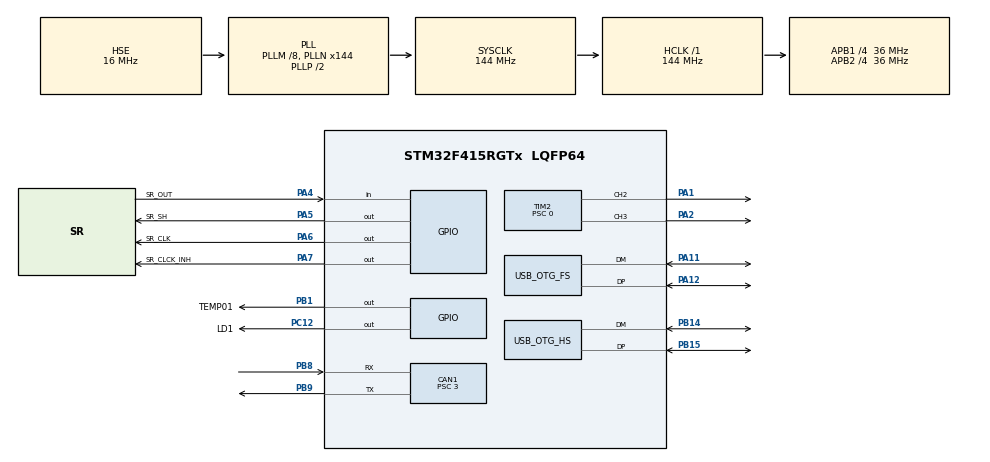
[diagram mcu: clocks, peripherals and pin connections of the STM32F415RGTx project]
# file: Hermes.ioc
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ADC1.Channel-0\#ChannelRegularConversion=ADC_CHANNEL_TEMPSENSOR
ADC1.NbrOfConversionFlag=1
ADC1.Rank-0\#ChannelRegularConversion=1
ADC1.SamplingTime-0\#ChannelRegularConversion=ADC_SAMPLETIME_3CYCLES
ADC1.master=1
CAN1.BS1=CAN_BS1_11TQ
CAN1.BS2=CAN_BS2_4TQ
CAN1.CalculateBaudRate=749999
CAN1.CalculateTimeBit=1333
CAN1.CalculateTimeQuantum=83.33333333333334
CAN1.Prescaler=3
Mcu.Family=STM32F4
Mcu.Name=STM32F415RGTx
Mcu.Package=LQFP64
NVIC.CAN1_RX0_IRQn=true\:0\:0\:false\:false\:true\:true\:true\:true
NVIC.OTG_FS_IRQn=true\:0\:0\:false\:false\:true\:false\:true\:true
NVIC.OTG_HS_IRQn=true\:0\:0\:false\:false\:true\:false\:true\:true
NVIC.PriorityGroup=NVIC_PRIORITYGROUP_4
PA1.Signal=S_TIM2_CH2
PA11.Mode=Device_Only
PA11.Signal=USB_OTG_FS_DM
PA12.Mode=Device_Only
PA12.Signal=USB_OTG_FS_DP
PA13.Mode=Serial_Wire
PA13.Signal=SYS_JTMS-SWDIO
PA14.Mode=Serial_Wire
PA14.Signal=SYS_JTCK-SWCLK
PA2.Signal=S_TIM2_CH3
PA4.GPIO_Label=SR_OUT
PA4.GPIO_PuPd=GPIO_PULLUP
PA4.Signal=GPIO_Input
PA5.GPIO_Label=SR_SH
PA5.GPIO_ModeDefaultOutputPP=GPIO_MODE_OUTPUT_PP
PA5.GPIO_PuPd=GPIO_NOPULL
PA5.GPIO_Speed=GPIO_SPEED_FREQ_MEDIUM
PA5.Signal=GPIO_Output
PA6.GPIO_Label=SR_CLK
PA6.GPIO_ModeDefaultOutputPP=GPIO_MODE_OUTPUT_PP
PA6.GPIO_PuPd=GPIO_NOPULL
PA6.GPIO_Speed=GPIO_SPEED_FREQ_MEDIUM
PA6.Signal=GPIO_Output
PA7.GPIO_Label=SR_CLCK_INH
PA7.GPIO_ModeDefaultOutputPP=GPIO_MODE_OUTPUT_PP
PA7.GPIO_PuPd=GPIO_NOPULL
PA7.GPIO_Speed=GPIO_SPEED_FREQ_MEDIUM
PA7.Signal=GPIO_Output
PB1.GPIO_Label=TEMP01
PB1.Signal=GPIO_Output
PB14.Mode=Device_Only_FS
PB14.Signal=USB_OTG_HS_DM
PB15.Mode=Device_Only_FS
PB15.Signal=USB_OTG_HS_DP
PB8.Mode=CAN_Activate
PB8.Signal=CAN1_RX
PB9.Mode=CAN_Activate
PB9.Signal=CAN1_TX
PC12.GPIO_Label=LD1
PC12.Signal=GPIO_Output
PC14-OSC32_IN.Mode=LSE-External-Oscillator
PC14-OSC32_IN.Signal=RCC_OSC32_IN
PC15-OSC32_OUT.Mode=LSE-External-Oscillator
PC15-OSC32_OUT.Signal=RCC_OSC32_OUT
PH0-OSC_IN.Mode=HSE-External-Oscillator
PH0-OSC_IN.Signal=RCC_OSC_IN
PH1-OSC_OUT.Mode=HSE-External-Oscillator
PH1-OSC_OUT.Signal=RCC_OSC_OUT
ProjectManager.HeapSize=0x200
ProjectManager.StackSize=0x400
ProjectManager.TargetToolchain=STM32CubeIDE
RCC.48MHZClocksFreq_Value=48000000
RCC.AHBFreq_Value=144000000
RCC.APB1CLKDivider=RCC_HCLK_DIV4
RCC.APB1Freq_Value=36000000
RCC.APB1TimFreq_Value=72000000
RCC.APB2CLKDivider=RCC_HCLK_DIV4
RCC.APB2Freq_Value=36000000
RCC.APB2TimFreq_Value=72000000
RCC.CortexFreq_Value=144000000
RCC.HCLKFreq_Value=144000000
RCC.HSE_VALUE=16000000
RCC.HSI_VALUE=16000000
RCC.PLLM=8
RCC.PLLN=144
RCC.PLLQ=6
RCC.SYSCLKFreq_VALUE=144000000
RCC.SYSCLKSource=RCC_SYSCLKSOURCE_PLLCLK
RCC.VCOOutputFreq_Value=288000000
SH.S_TIM2_CH2.0=TIM2_CH2,PWM Generation2 CH2
SH.S_TIM2_CH3.0=TIM2_CH3,PWM Generation3 CH3
TIM2.AutoReloadPreload=TIM_AUTORELOAD_PRELOAD_ENABLE
TIM2.Channel-PWM\ Generation2\ CH2=TIM_CHANNEL_2
TIM2.Channel-PWM\ Generation3\ CH3=TIM_CHANNEL_3
TIM2.Period=1679999
TIM2.Prescaler=0
TIM2.Pulse-PWM\ Generation2\ CH2=9999
TIM2.Pulse-PWM\ Generation3\ CH3=9999
USB_DEVICE.CLASS_NAME_FS=CDC
USB_DEVICE.CLASS_NAME_HS=CDC
USB_DEVICE.PRODUCT_STRING_CDC_FS=UiS Subsea CAN
USB_DEVICE.PRODUCT_STRING_CDC_HS=UiS Subsea CAN
USB_DEVICE.VirtualMode-CDC_FS=Cdc
USB_DEVICE.VirtualMode-CDC_HS=Cdc
USB_DEVICE.VirtualModeFS=Cdc_FS
USB_DEVICE.VirtualModeHS=Cdc_HS
USB_OTG_FS.VirtualMode=Device_Only
USB_OTG_HS.VirtualMode-Device_Only_FS=Device_Only_FS
VP_ADC1_TempSens_Input.Mode=IN-TempSens
VP_TIM2_VS_ClockSourceINT.Mode=Internal
VP_USB_DEVICE_VS_USB_DEVICE_CDC_FS.Mode=CDC_FS
VP_USB_DEVICE_VS_USB_DEVICE_CDC_HS.Mode=CDC_HS
board=custom

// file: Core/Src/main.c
/* USER CODE BEGIN Header */
/**
  ******************************************************************************
  * @file           : main.c
  * @brief          : Main program body
  ******************************************************************************
  * @attention
  *
  * <h2><center>&copy; Copyright (c) 2022 STMicroelectronics.
  * All rights reserved.</center></h2>
  *
  * This software component is licensed by ST under BSD 3-Clause license,
  * the "License"; You may not use this file except in compliance with the
  * License. You may obtain a copy of the License at:
  *                        opensource.org/licenses/BSD-3-Clause
  *
  ******************************************************************************
  */
/* USER CODE END Header */
#include "main.h"
#include "usb_device.h"

/* USER CODE BEGIN Includes */
#include "usbd_cdc_if.h"
#include <inttypes.h>

#include "metodar.h"
#include "shift.h"
/* USER CODE END Includes */

 ADC_HandleTypeDef hadc1;

CAN_HandleTypeDef hcan1;

TIM_HandleTypeDef htim2;

void SystemClock_Config(void);
static void MX_GPIO_Init(void);
static void MX_TIM2_Init(void);
static void MX_CAN1_Init(void);
static void MX_ADC1_Init(void);

/* USER CODE BEGIN 0 */

/*
 * CAN-Buss oppsett Start
 */
CAN_RxHeaderTypeDef rxHeader; //CAN Bus Transmit Header
CAN_TxHeaderTypeDef txHeader; //CAN Bus Receive Header
uint8_t canRX[8] = {0,0,0,0,0,0,0,0};  //CAN Bus Receive Buffer
uint8_t csend[] = {0x00,0x00,0x00,0x00,0x00,0x00,0x00,0x00}; // Tx Buffer
CAN_FilterTypeDef canfilter;
uint32_t canMailbox; //CAN Bus Mail box variable

void oppstartCAN(uint8_t filterGruppe, CAN_HandleTypeDef *canPort) {
	canfilter.FilterBank = 0;
	canfilter.FilterMode = CAN_FILTERMODE_IDMASK;
	canfilter.FilterFIFOAssignment = CAN_RX_FIFO0;
	canfilter.FilterIdHigh = 0x00;
	canfilter.FilterIdLow = 0x00;
	canfilter.FilterMaskIdHigh = 0x00;
	canfilter.FilterMaskIdLow = 0x00;
	canfilter.FilterScale = CAN_FILTERSCALE_32BIT;
	canfilter.FilterActivation = ENABLE;
	canfilter.SlaveStartFilterBank = 14;

	txHeader.DLC = 8; // Number of bytes to be transmitted, max- 8
	txHeader.IDE = CAN_ID_STD;
	txHeader.RTR = CAN_RTR_DATA;
	txHeader.StdId = 0x00;
	txHeader.ExtId = 0x00;
	txHeader.TransmitGlobalTime = DISABLE;

	HAL_CAN_ConfigFilter(canPort, &canfilter);
	HAL_CAN_Start(canPort);
	HAL_CAN_ActivateNotification(canPort, CAN_IT_RX_FIFO0_MSG_PENDING);
}

void sendDataCAN(uint16_t id, CAN_HandleTypeDef *canPort) {
	txHeader.StdId = id;
	HAL_CAN_AddTxMessage(canPort, &txHeader, csend, &canMailbox);
}
/*
 * CAN-Buss oppsett Stopp
 */

uint8_t test_flag = 0;
uint8_t ttData[64] = "123\n";
uint16_t teller_CAN = 0;
uint32_t* tmpCANBuf32;
uint8_t* tmpCANBuf8;
uint8_t CANBufLengde = 0;

/* USER CODE END 0 */

int main(void)
{

  /* MCU Configuration--------------------------------------------------------*/

  /* Reset of all peripherals, Initializes the Flash interface and the Systick. */
  HAL_Init();

  /* Configure the system clock */
  SystemClock_Config();

  /* Initialize all configured peripherals */
  MX_GPIO_Init();
  MX_TIM2_Init();
  MX_USB_DEVICE_Init();
  MX_CAN1_Init();
  MX_ADC1_Init();
  /* USER CODE BEGIN 2 */

  HAL_TIM_PWM_Start(&htim2, TIM_CHANNEL_2);
  HAL_TIM_PWM_Start(&htim2, TIM_CHANNEL_3);
  TIM2->ARR = 1679999;
  TIM2->CCR2 = skalerVerdi(KAMERA_VINKEL_FRAM, 180, 0, 220000, 50000);
  TIM2->CCR3 = skalerVerdi(KAMERA_VINKEL_BAK, 180, 0, 220000, 50000);

  // Read buffer
  uint8_t rxData[16];
  memset(rxData, 0, 16);

  oppstartCAN(0, &hcan1);

  // Temp verdier til test data
	HAL_GPIO_WritePin(SR_SH_GPIO_Port, SR_SH_Pin, GPIO_PIN_SET);
	HAL_GPIO_WritePin(SR_CLCK_INH_GPIO_Port, SR_CLCK_INH_Pin, GPIO_PIN_SET);
	HAL_GPIO_WritePin(SR_CLK_GPIO_Port, SR_CLK_Pin, GPIO_PIN_SET);

  uint8_t dipSwitch = 0;
  uint16_t testSensorTall1 = 0;
  uint16_t testSensorTall2 = 0;
  uint16_t testTeller1 = 0;
  uint8_t  testData[64] = "123\n";
  uint8_t* testBuf8;
  uint8_t  testBufLengde = 0;
  uint8_t  testArray[8] = {0x00,0x00,0x00,0x00,0x00,0x00,0x00,0x00}; // Tx Buffer
  uint8_t  testKontSend[8] = {0};
  int8_t   testKontX = -128;
  /* USER CODE END 2 */

  /* Infinite loop */
  while (1)
  {

    /* USER CODE BEGIN 3 */

	  uint16_t bytesAvailable = CDC_GetRxBufferBytesAvailable_HS();

	  // Venter på full pakke, sjekk start og stopp byte.
	  if (bytesAvailable >= 12) {
	  if (CDC_ReadRxBuffer_HS(rxData, 1) == USB_CDC_RX_BUFFER_OK) {
	  if (rxData[0] == PAKKE_START) {
	  if (CDC_ReadRxBuffer_HS(rxData, 11) == USB_CDC_RX_BUFFER_OK) {
	  if (rxData[10] == PAKKE_STOPP) {
		  /*
		   * rxData[0] er CAN/Tilt
		   * rxData[1] er CAN/Kamera ID
		   * rxData[2-9] er Datapakke
		   * rxData[10] er sluttbyte
		   */

		  if (rxData[0] == PAKKE_CAN) {
			  // Kopierer databuffer og sender på CAN
			  memcpy(csend, &rxData[2], 8);
			  sendDataCAN(rxData[1], &hcan1);

		  } else if (rxData[0] == PAKKE_TILT) {

			  int8_t vinkel = (int8_t) rxData[2];
			  int16_t vinkel_16 = (int16_t) vinkel;

			  switch (rxData[1]) {
			  // Kamera fram
			  case 200:
				  vinkel_16 += KAMERA_VINKEL_FRAM; // -30 -> +30 offsett med 90

				  if (vinkel_16 >= KAMERA_VINKEL_FRAM_MAKS) {
					  vinkel_16 = KAMERA_VINKEL_FRAM_MAKS;
				  } else if (vinkel_16 <= KAMERA_VINKEL_FRAM_MIN) {
					  vinkel_16 = KAMERA_VINKEL_FRAM_MIN;
				  }

				  TIM2->CCR2 = skalerVerdi(vinkel_16, 180, 0, 220000, 50000);
				  break;

			  // Kamera bak
			  case 201:
				  vinkel_16 += KAMERA_VINKEL_BAK; // -30 -> +30 offsett med 90

				  if (vinkel_16 >= KAMERA_VINKEL_BAK_MAKS) {
					  vinkel_16 = KAMERA_VINKEL_BAK_MAKS;
				  } else if (vinkel_16 <= KAMERA_VINKEL_BAK_MIN) {
					  vinkel_16 = KAMERA_VINKEL_BAK_MIN;
				  }

				  TIM2->CCR3 = skalerVerdi(vinkel_16, 180, 0, 220000, 50000);
				  break;
			  }

		  } else {

		  }

	  }}}
	  // Ikkje Start byte
	  else {
		  // ting her??
	  }}}

	  	if (testTeller1 >= 0xFFFF) {
		  	dipSwitch = readByte();
		  	float test = 4.5;
		  	test = abs(test);

		  	if (dipSwitch != 0xFF) {
				// Testdata sensor kort til toppside
				if (dipSwitch & 0b1) {
					if (testSensorTall1 >= 700) {
						testSensorTall1 = 0;
					}
					testSensorTall1++;
					testSensorTall2 = testSensorTall1 + 42;

					memcpy(&testArray[1], &testSensorTall1, 2);
					memcpy(&testArray[3], &testSensorTall2, 2);

					testBuf8 = testArray;
					for (int i = 0; i < 8; i++) {
						testBufLengde = testBufLengde + sprintf((char*) &testData[testBufLengde], "\\x%02X", *testBuf8);
						testBuf8++;
					}

					sprintf((char*) &testData[testBufLengde], ";%d\n", (uint8_t) 140U);
					testBufLengde = 0;

					CDC_Transmit_HS(testData, strlen((char*) testData));
				}

				// Testdata kontroll til CAN
				if (dipSwitch & 0b10) {
				  testKontX++;
				  memset(testKontSend, (uint8_t) testKontX, 3);

				  memcpy(csend, testKontSend, 8);
				  sendDataCAN(70, &hcan1);
				}

				// Debugdata serial konsoll på
				if (dipSwitch & 0b10000000) {
					sprintf((char*) testData, "Dipswitch: 0b"BYTE_TO_BINARY_PATTERN"\r\n", BYTE_TO_BINARY(dipSwitch));
					CDC_Transmit_HS(testData, strlen((char*) testData));
				}
		  	}
		  	// Reset teller
		  	testTeller1 = 0;
	  	}
	  	//testTeller1++;
	  	//sendDataCAN(90, &hcan1);
	  	//HAL_Delay(1000);

  }
  /* USER CODE END 3 */
}

void SystemClock_Config(void)
{
  RCC_OscInitTypeDef RCC_OscInitStruct = {0};
  RCC_ClkInitTypeDef RCC_ClkInitStruct = {0};

  /** Configure the main internal regulator output voltage
  */
  __HAL_RCC_PWR_CLK_ENABLE();
  __HAL_PWR_VOLTAGESCALING_CONFIG(PWR_REGULATOR_VOLTAGE_SCALE1);

  /** Initializes the RCC Oscillators according to the specified parameters
  * in the RCC_OscInitTypeDef structure.
  */
  RCC_OscInitStruct.OscillatorType = RCC_OSCILLATORTYPE_HSE;
  RCC_OscInitStruct.HSEState = RCC_HSE_ON;
  RCC_OscInitStruct.PLL.PLLState = RCC_PLL_ON;
  RCC_OscInitStruct.PLL.PLLSource = RCC_PLLSOURCE_HSE;
  RCC_OscInitStruct.PLL.PLLM = 8;
  RCC_OscInitStruct.PLL.PLLN = 144;
  RCC_OscInitStruct.PLL.PLLP = RCC_PLLP_DIV2;
  RCC_OscInitStruct.PLL.PLLQ = 6;
  if (HAL_RCC_OscConfig(&RCC_OscInitStruct) != HAL_OK)
  {
    Error_Handler();
  }

  /** Initializes the CPU, AHB and APB buses clocks
  */
  RCC_ClkInitStruct.ClockType = RCC_CLOCKTYPE_HCLK|RCC_CLOCKTYPE_SYSCLK
                              |RCC_CLOCKTYPE_PCLK1|RCC_CLOCKTYPE_PCLK2;
  RCC_ClkInitStruct.SYSCLKSource = RCC_SYSCLKSOURCE_PLLCLK;
  RCC_ClkInitStruct.AHBCLKDivider = RCC_SYSCLK_DIV1;
  RCC_ClkInitStruct.APB1CLKDivider = RCC_HCLK_DIV4;
  RCC_ClkInitStruct.APB2CLKDivider = RCC_HCLK_DIV4;

  if (HAL_RCC_ClockConfig(&RCC_ClkInitStruct, FLASH_LATENCY_4) != HAL_OK)
  {
    Error_Handler();
  }
}

static void MX_ADC1_Init(void)
{

  ADC_ChannelConfTypeDef sConfig = {0};

  /** Configure the global features of the ADC (Clock, Resolution, Data Alignment and number of conversion)
  */
  hadc1.Instance = ADC1;
  hadc1.Init.ClockPrescaler = ADC_CLOCK_SYNC_PCLK_DIV2;
  hadc1.Init.Resolution = ADC_RESOLUTION_12B;
  hadc1.Init.ScanConvMode = DISABLE;
  hadc1.Init.ContinuousConvMode = DISABLE;
  hadc1.Init.DiscontinuousConvMode = DISABLE;
  hadc1.Init.ExternalTrigConvEdge = ADC_EXTERNALTRIGCONVEDGE_NONE;
  hadc1.Init.ExternalTrigConv = ADC_SOFTWARE_START;
  hadc1.Init.DataAlign = ADC_DATAALIGN_RIGHT;
  hadc1.Init.NbrOfConversion = 1;
  hadc1.Init.DMAContinuousRequests = DISABLE;
  hadc1.Init.EOCSelection = ADC_EOC_SINGLE_CONV;
  if (HAL_ADC_Init(&hadc1) != HAL_OK)
  {
    Error_Handler();
  }

  /** Configure for the selected ADC regular channel its corresponding rank in the sequencer and its sample time.
  */
  sConfig.Channel = ADC_CHANNEL_TEMPSENSOR;
  sConfig.Rank = 1;
  sConfig.SamplingTime = ADC_SAMPLETIME_3CYCLES;
  if (HAL_ADC_ConfigChannel(&hadc1, &sConfig) != HAL_OK)
  {
    Error_Handler();
  }

}

static void MX_CAN1_Init(void)
{

  hcan1.Instance = CAN1;
  hcan1.Init.Prescaler = 3;
  hcan1.Init.Mode = CAN_MODE_NORMAL;
  hcan1.Init.SyncJumpWidth = CAN_SJW_1TQ;
  hcan1.Init.TimeSeg1 = CAN_BS1_11TQ;
  hcan1.Init.TimeSeg2 = CAN_BS2_4TQ;
  hcan1.Init.TimeTriggeredMode = DISABLE;
  hcan1.Init.AutoBusOff = DISABLE;
  hcan1.Init.AutoWakeUp = DISABLE;
  hcan1.Init.AutoRetransmission = DISABLE;
  hcan1.Init.ReceiveFifoLocked = DISABLE;
  hcan1.Init.TransmitFifoPriority = DISABLE;
  if (HAL_CAN_Init(&hcan1) != HAL_OK)
  {
    Error_Handler();
  }

}

static void MX_TIM2_Init(void)
{

  TIM_ClockConfigTypeDef sClockSourceConfig = {0};
  TIM_MasterConfigTypeDef sMasterConfig = {0};
  TIM_OC_InitTypeDef sConfigOC = {0};

  htim2.Instance = TIM2;
  htim2.Init.Prescaler = 0;
  htim2.Init.CounterMode = TIM_COUNTERMODE_UP;
  htim2.Init.Period = 1679999;
  htim2.Init.ClockDivision = TIM_CLOCKDIVISION_DIV1;
  htim2.Init.AutoReloadPreload = TIM_AUTORELOAD_PRELOAD_ENABLE;
  if (HAL_TIM_Base_Init(&htim2) != HAL_OK)
  {
    Error_Handler();
  }
  sClockSourceConfig.ClockSource = TIM_CLOCKSOURCE_INTERNAL;
  if (HAL_TIM_ConfigClockSource(&htim2, &sClockSourceConfig) != HAL_OK)
  {
    Error_Handler();
  }
  if (HAL_TIM_PWM_Init(&htim2) != HAL_OK)
  {
    Error_Handler();
  }
  sMasterConfig.MasterOutputTrigger = TIM_TRGO_RESET;
  sMasterConfig.MasterSlaveMode = TIM_MASTERSLAVEMODE_DISABLE;
  if (HAL_TIMEx_MasterConfigSynchronization(&htim2, &sMasterConfig) != HAL_OK)
  {
    Error_Handler();
  }
  sConfigOC.OCMode = TIM_OCMODE_PWM1;
  sConfigOC.Pulse = 9999;
  sConfigOC.OCPolarity = TIM_OCPOLARITY_HIGH;
  sConfigOC.OCFastMode = TIM_OCFAST_DISABLE;
  if (HAL_TIM_PWM_ConfigChannel(&htim2, &sConfigOC, TIM_CHANNEL_2) != HAL_OK)
  {
    Error_Handler();
  }
  if (HAL_TIM_PWM_ConfigChannel(&htim2, &sConfigOC, TIM_CHANNEL_3) != HAL_OK)
  {
    Error_Handler();
  }
  HAL_TIM_MspPostInit(&htim2);

}

static void MX_GPIO_Init(void)
{
  GPIO_InitTypeDef GPIO_InitStruct = {0};

  /* GPIO Ports Clock Enable */
  __HAL_RCC_GPIOC_CLK_ENABLE();
  __HAL_RCC_GPIOH_CLK_ENABLE();
  __HAL_RCC_GPIOA_CLK_ENABLE();
  __HAL_RCC_GPIOB_CLK_ENABLE();

  /*Configure GPIO pin Output Level */
  HAL_GPIO_WritePin(GPIOA, SR_SH_Pin|SR_CLK_Pin|SR_CLCK_INH_Pin, GPIO_PIN_RESET);

  /*Configure GPIO pin Output Level */
  HAL_GPIO_WritePin(TEMP01_GPIO_Port, TEMP01_Pin, GPIO_PIN_RESET);

  /*Configure GPIO pin Output Level */
  HAL_GPIO_WritePin(LD1_GPIO_Port, LD1_Pin, GPIO_PIN_RESET);

  /*Configure GPIO pin : SR_OUT_Pin */
  GPIO_InitStruct.Pin = SR_OUT_Pin;
  GPIO_InitStruct.Mode = GPIO_MODE_INPUT;
  GPIO_InitStruct.Pull = GPIO_PULLUP;
  HAL_GPIO_Init(SR_OUT_GPIO_Port, &GPIO_InitStruct);

  /*Configure GPIO pins : SR_SH_Pin SR_CLK_Pin SR_CLCK_INH_Pin */
  GPIO_InitStruct.Pin = SR_SH_Pin|SR_CLK_Pin|SR_CLCK_INH_Pin;
  GPIO_InitStruct.Mode = GPIO_MODE_OUTPUT_PP;
  GPIO_InitStruct.Pull = GPIO_NOPULL;
  GPIO_InitStruct.Speed = GPIO_SPEED_FREQ_MEDIUM;
  HAL_GPIO_Init(GPIOA, &GPIO_InitStruct);

  /*Configure GPIO pin : TEMP01_Pin */
  GPIO_InitStruct.Pin = TEMP01_Pin;
  GPIO_InitStruct.Mode = GPIO_MODE_OUTPUT_PP;
  GPIO_InitStruct.Pull = GPIO_NOPULL;
  GPIO_InitStruct.Speed = GPIO_SPEED_FREQ_LOW;
  HAL_GPIO_Init(TEMP01_GPIO_Port, &GPIO_InitStruct);

  /*Configure GPIO pin : LD1_Pin */
  GPIO_InitStruct.Pin = LD1_Pin;
  GPIO_InitStruct.Mode = GPIO_MODE_OUTPUT_PP;
  GPIO_InitStruct.Pull = GPIO_NOPULL;
  GPIO_InitStruct.Speed = GPIO_SPEED_FREQ_LOW;
  HAL_GPIO_Init(LD1_GPIO_Port, &GPIO_InitStruct);

}

/* USER CODE BEGIN 4 */
// Interupt for CAN-Buss mottak av data
void HAL_CAN_RxFifo0MsgPendingCallback(CAN_HandleTypeDef *hcan11)
{
	HAL_CAN_GetRxMessage(hcan11, CAN_RX_FIFO0, &rxHeader, canRX); //Receive CAN bus message to canRX buffer
	tmpCANBuf8 = canRX;
	for (int i = 0; i < 8; i++) {
		CANBufLengde = CANBufLengde + sprintf((char*) &ttData[CANBufLengde], "\\x%02X", *tmpCANBuf8);
		tmpCANBuf8++;
	}

	sprintf((char*) &ttData[CANBufLengde], ";%d\n", (uint8_t) rxHeader.StdId);
	CANBufLengde = 0;

	CDC_Transmit_HS(ttData, strlen((char*) ttData));
	//CDC_Transmit_FS(ttData, strlen((char*) ttData));

}
/* USER CODE END 4 */

void Error_Handler(void)
{
  __disable_irq();
  while (1)
  {
  }
}
